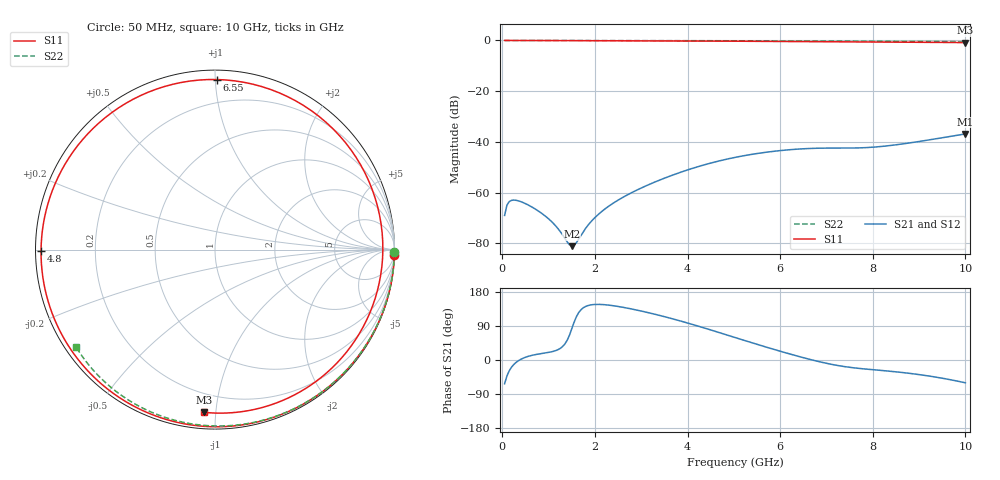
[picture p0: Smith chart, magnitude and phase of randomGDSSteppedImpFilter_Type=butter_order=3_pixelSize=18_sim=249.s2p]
! freq	dB(S11)	phase(S11)	dB(S12)	phase(S12)
!  dB(S21)	phase(S21)	dB(S22)	phase(S22)
!S-par simulation data
#  GHz  S  DB  R 50
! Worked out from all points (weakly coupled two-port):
!   200 points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, 50 MHz to 10 GHz, reference 50 ohm
!   highest |S21| = -36.86 dB at 10 GHz (marker M1); lowest = -81.1 dB at 1.5 GHz (marker M2)
!   lowest |S11| = -0.8 dB at 10 GHz (marker M3), VSWR 20.92, Z = 4.47 - j46.5 ohm
!   |S11| at or under -10 dB: nowhere
!   |S22| runs from -0.5 to 0.0 dB; largest |S21 - S12| = 0
!   S11 on the Smith chart (normalised r, x): 50 MHz: 0, -61; 4.8 GHz: 0.02, -0.00; 6.55 GHz: 0.05, +1.01; 10 GHz: 0.09, -0.93
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0.05  -0.00 -1.9  -69.01 -62.6  -69.01 -62.6  -0.00 -0.8
0.1  -0.00 -3.8  -64.94 -42.2  -64.94 -42.2  -0.00 -1.7
0.15  -0.00 -5.6  -63.56 -28.4  -63.56 -28.4  -0.00 -2.5
0.45  -0.01 -16.9  -63.93 4.8  -63.93 4.8  -0.01 -7.6
0.95  -0.04 -35.4  -69.58 18.9  -69.58 18.9  -0.02 -15.9
1.5  -0.07 -55.5  -81.13 82.1  -81.13 82.1  -0.03 -24.9
1.6  -0.07 -59.1  -79.73 114.3  -79.73 114.3  -0.03 -26.6
1.75  -0.08 -64.6  -75.40 137.8  -75.40 137.8  -0.04 -29.0
2.35  -0.11 -86.2  -64.72 144.0  -64.72 144.0  -0.05 -38.7
3.4  -0.16 -124.2  -55.05 117.6  -55.05 117.6  -0.07 -55.1
4.15  -0.21 -152.7  -50.20 92.3  -50.20 92.3  -0.09 -66.4
4.8  -0.27 -179.6  -47.01 68.0  -47.01 68.0  -0.11 -76.0
5.05  -0.30 169.3  -46.03 58.4  -46.03 58.4  -0.12 -79.6
5.75  -0.38 135.0  -43.96 32.2  -43.96 32.2  -0.15 -89.4
6.55  -0.47 89.4  -42.67 4.5  -42.67 4.5  -0.19 -100.3
6.7  -0.48 80.2  -42.56 -0.2  -42.56 -0.2  -0.20 -102.4
7.1  -0.52 55.2  -42.45 -11.3  -42.45 -11.3  -0.22 -107.7
7.55  -0.55 26.9  -42.43 -20.1  -42.43 -20.1  -0.25 -113.6
7.95  -0.58 2.8  -42.16 -25.1  -42.16 -25.1  -0.28 -118.8
8.35  -0.61 -19.8  -41.49 -29.4  -41.49 -29.4  -0.32 -123.9
9.15  -0.69 -59.2  -39.42 -41.1  -39.42 -41.1  -0.39 -134.2
10  -0.83 -93.9  -36.86 -60.2  -36.86 -60.2  -0.49 -145.2
